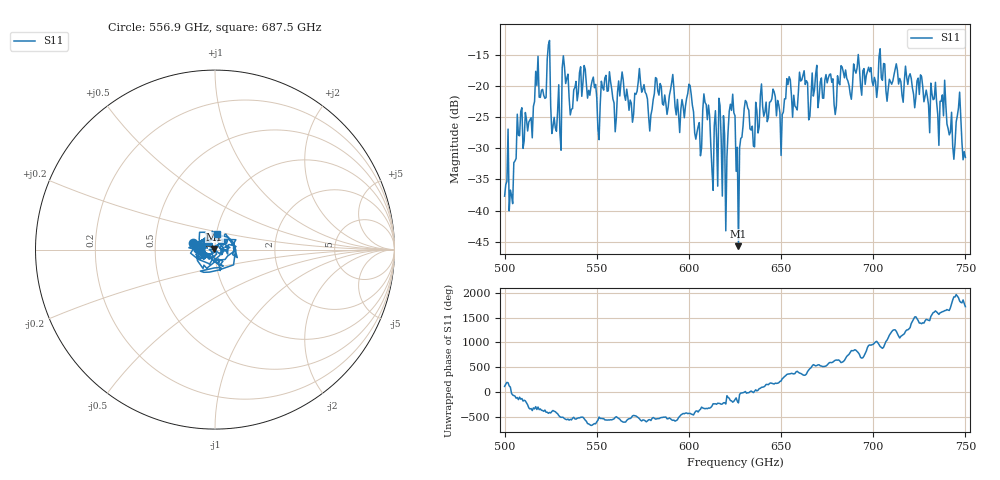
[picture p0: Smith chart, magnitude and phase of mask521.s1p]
!Created with skrf (http://scikit-rf.org).
# GHz S MA R 50.0
!freq magS11 angS11
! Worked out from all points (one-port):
!   401 points, 500 GHz to 750 GHz, reference 50 ohm
!   lowest |S11| = -45.7 dB at 626.9 GHz (marker M1), VSWR 1.01, Z = 49.6 + j0.289 ohm
!   |S11| at or under -10 dB: start of sweep to end of sweep
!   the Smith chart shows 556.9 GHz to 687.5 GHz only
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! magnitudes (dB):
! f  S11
! 500 GHz  -37.7
! 503.8 GHz  -37.5
! 508.1 GHz  -28.0
! 513.8 GHz  -25.4
! 516.9 GHz  -17.7
! 523.8 GHz  -13.5
! 526.9 GHz  -25.1
! 531.2 GHz  -17.1
! 562.5 GHz  -21.6
! 593.8 GHz  -22.2
! 600 GHz  -19.7
! 605.6 GHz  -25.9
! 609.4 GHz  -23.0
! 612.5 GHz  -33.4
! 617.5 GHz  -28.6
! 619.4 GHz  -27.9
! 622.5 GHz  -23.0
! 625 GHz  -24.8
! 626.9 GHz  -45.7
! 631.2 GHz  -22.6
! 634.4 GHz  -26.5
! 656.2 GHz  -25.0
! 687.5 GHz  -21.3
! 718.8 GHz  -19.8
! 738.1 GHz  -24.8
! 743.1 GHz  -29.7
! 746.2 GHz  -23.6
! 750 GHz  -31.5
